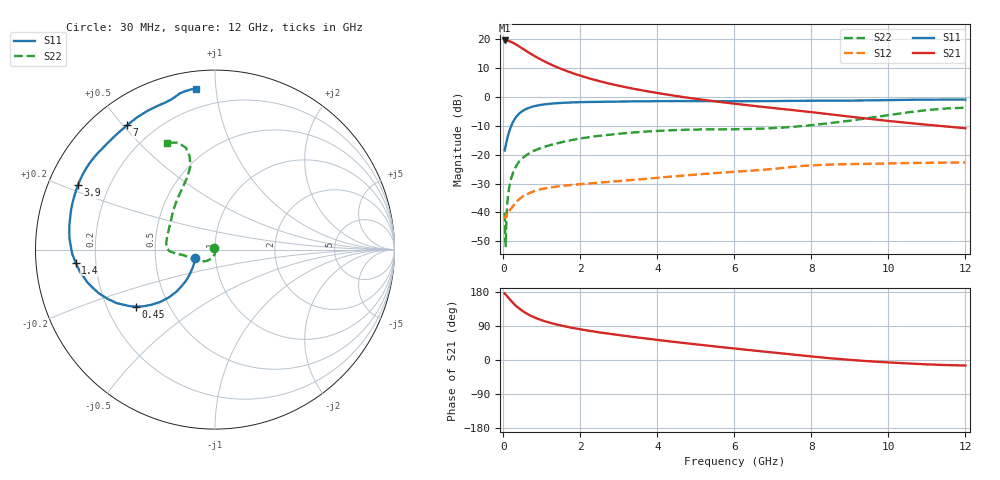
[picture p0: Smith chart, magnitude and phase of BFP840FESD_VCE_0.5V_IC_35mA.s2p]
! Infineon Technologies  Discrete & RF Semiconductors
! BFP840FESD
! VCE =  0.5 V,  IC =  35 mA
! Common Emitter S-Parameters:  May 2012
# GHz  S  MA  R  50
!  f  S11  S21  S12  S22
! GHz  MAG  ANG  MAG  ANG  MAG  ANG  MAG  ANG
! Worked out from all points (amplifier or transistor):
!   103 points, 30 MHz to 12 GHz, reference 50 ohm
!   highest |S21| = 19.6 dB at 40 MHz (marker M1)
!   |S21| within 3 dB of that: start of sweep to 517.7 MHz
!   unconditionally stable (mu >= 1): start of sweep to end of sweep
!   at 400 MHz: K = 2.97, MAG = 18.9 dB, |S12| = -35.5 dB
!   at 3.7 GHz: K = 2.92, MAG = 7.7 dB, |S12| = -28.4 dB
!   at 12 GHz: K = 3.09, MAG = -1.9 dB, |S12| = -22.7 dB
!   S11 on the Smith chart (normalised r, x): 30 MHz: 0.80, -0.08; 450 MHz: 0.32, -0.29; 1.4 GHz: 0.12, -0.05; 3.9 GHz: 0.09, +0.22; 7 GHz: 0.10, +0.51; 12 GHz: 0.09, +0.88
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0.03  0.1183 -156.7  9.51 175.5  0.0079 11.4  0.0099 133.5
0.04  0.1262 -152.1  9.523 174.2  0.008 16.0  0.0057 130.1
0.06  0.1451 -145.0  9.519 172.9  0.0087 14.2  0.0026 -101.9
0.08  0.1673 -140.0  9.496 170.4  0.009 23.0  0.009 -86.0
0.12  0.2163 -134.1  9.351 165.4  0.0096 25.7  0.0203 -91.7
0.2  0.3144 -132.4  8.954 156.0  0.0117 32.1  0.0387 -103.0
0.25  0.3707 -134.0  8.651 150.5  0.0129 36.0  0.049 -109.5
0.35  0.4683 -139.0  7.928 140.8  0.0155 37.9  0.0666 -120.2
0.45  0.5432 -144.2  7.203 132.7  0.0178 37.6  0.0814 -128.4
0.6  0.6244 -151.5  6.218 122.7  0.0204 36.2  0.0988 -138.8
0.8  0.6916 -159.4  5.153 112.6  0.0233 34.4  0.1175 -148.9
1.1  0.748 -168.3  4.019 101.5  0.0262 31.7  0.1392 -158.8
1.4  0.7805 -174.7  3.26 93.3  0.0281 30.4  0.1579 -165.0
2.1  0.815 174.3  2.225 79.2  0.0312 29.5  0.1954 -172.0
2.9  0.8308 165.1  1.617 67.2  0.0345 31.1  0.2272 -175.1
3.9  0.8436 154.9  1.201 54.3  0.0392 32.8  0.2562 -178.7
4.1  0.8458 152.9  1.142 51.8  0.0403 32.9  0.2602 -179.8
6.1  0.8431 134.6  0.752 29.3  0.051 32.1  0.2767 163.1
7  0.8481 125.2  0.644 19.8  0.0566 31.7  0.2883 150.0
8.5  0.8625 111.7  0.499 4.5  0.0674 24.1  0.3529 126.3
10.5  0.8921 102.7  0.356 -9.0  0.0716 17.1  0.5406 105.2
12  0.9011 96.9  0.287 -14.5  0.0733 15.1  0.6516 114.1
